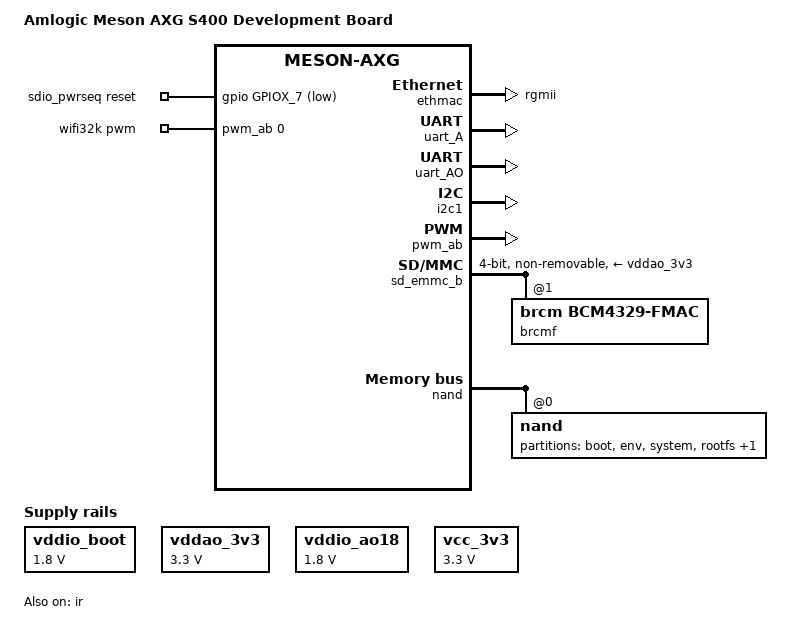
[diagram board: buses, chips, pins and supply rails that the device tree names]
// SPDX-License-Identifier: (GPL-2.0+ OR MIT)
/*
 * Copyright (c) 2017 Amlogic, Inc. All rights reserved.
 */

/dts-v1/;

#include "meson-axg.dtsi"

/ {
	compatible = "amlogic,s400", "amlogic,a113d", "amlogic,meson-axg";
	model = "Amlogic Meson AXG S400 Development Board";

	aliases {
		serial0 = &uart_AO;
		serial1 = &uart_A;
	};

	vddio_boot: regulator-vddio_boot {
		compatible = "regulator-fixed";
		regulator-name = "VDDIO_BOOT";
		regulator-min-microvolt = <1800000>;
		regulator-max-microvolt = <1800000>;
	};

	vddao_3v3: regulator-vddao_3v3 {
		compatible = "regulator-fixed";
		regulator-name = "VDDAO_3V3";
		regulator-min-microvolt = <3300000>;
		regulator-max-microvolt = <3300000>;
	};

	vddio_ao18: regulator-vddio_ao18 {
		compatible = "regulator-fixed";
		regulator-name = "VDDIO_AO18";
		regulator-min-microvolt = <1800000>;
		regulator-max-microvolt = <1800000>;
	};

	vcc_3v3: regulator-vcc_3v3 {
		compatible = "regulator-fixed";
		regulator-name = "VCC_3V3";
		regulator-min-microvolt = <3300000>;
		regulator-max-microvolt = <3300000>;
	};

	emmc_pwrseq: emmc-pwrseq {
		compatible = "mmc-pwrseq-emmc";
		reset-gpios = <&gpio BOOT_9 GPIO_ACTIVE_LOW>;
		status = "disabled";
	};

	sdio_pwrseq: sdio-pwrseq {
		compatible = "mmc-pwrseq-simple";
		reset-gpios = <&gpio GPIOX_7 GPIO_ACTIVE_LOW>;
		clocks = <&wifi32k>;
		clock-names = "ext_clock";
	};

	wifi32k: wifi32k {
		compatible = "pwm-clock";
		#clock-cells = <0>;
		clock-frequency = <32768>;
		pwms = <&pwm_ab 0 30518 0>; /* PWM_A at 32.768KHz */
	};
};

&ethmac {
	status = "okay";
	phy-mode = "rgmii";
	pinctrl-0 = <&eth_rgmii_y_pins>;
	pinctrl-names = "default";
};

&uart_A {
	status = "okay";
	pinctrl-0 = <&uart_a_pins>;
	pinctrl-names = "default";
};

&uart_AO {
	status = "okay";
	pinctrl-0 = <&uart_ao_a_pins>;
	pinctrl-names = "default";
};

&ir {
	status = "okay";
	pinctrl-0 = <&remote_input_ao_pins>;
	pinctrl-names = "default";
};

&i2c1 {
	status = "okay";
	pinctrl-0 = <&i2c1_z_pins>;
	pinctrl-names = "default";
};

&pwm_ab {
	status = "okay";
	pinctrl-0 = <&pwm_a_x20_pins>;
	pinctrl-names = "default";
};

/* emmc storage */
&sd_emmc_c {
	status = "disabled";
	pinctrl-0 = <&emmc_pins>;
	pinctrl-1 = <&emmc_clk_gate_pins>;
	pinctrl-names = "default", "clk-gate";

	bus-width = <8>;
	cap-sd-highspeed;
	cap-mmc-highspeed;
	max-frequency = <180000000>;
	non-removable;
	disable-wp;
	mmc-ddr-1_8v;
	mmc-hs200-1_8v;

	vmmc-supply = <&vcc_3v3>;
	vqmmc-supply = <&vddio_boot>;
};

/* wifi module */
&sd_emmc_b {
	status = "okay";
	#address-cells = <1>;
	#size-cells = <0>;

	pinctrl-0 = <&sdio_pins>;
	pinctrl-1 = <&sdio_clk_gate_pins>;
	pinctrl-names = "default", "clk-gate";

	bus-width = <4>;
	cap-sd-highspeed;
	max-frequency = <100000000>;
	non-removable;
	disable-wp;

	mmc-pwrseq = <&sdio_pwrseq>;

	vmmc-supply = <&vddao_3v3>;
	vqmmc-supply = <&vddio_boot>;

	brcmf: wifi@1 {
		reg = <1>;
		compatible = "brcm,bcm4329-fmac";
	};
};

&nand {
	status = "okay";
	#address-cells = <1>;
	#size-cells = <0>;

	pinctrl-names = "default";
	pinctrl-0 = <&nand_pins>;

	nand@0 {
		reg = <0>;
		#address-cells = <1>;
		#size-cells = <1>;

		nand-on-flash-bbt;
		nand-ecc-mode = "hw";
		nand-ecc-strength = <8>;
		nand-ecc-step-size = <1024>;

		nand-user-mode = <2>;
		nand-ran-mode = <1>;

		partition@0 {
			label = "boot";
			reg = <0x00000000 0x00200000>;
			read-only;
		};
		partition@200000 {
			label = "env";
			reg = <0x00200000 0x00400000>;
		};
		partition@600000 {
			label = "system";
			reg = <0x00600000 0x00a00000>;
		};
		partition@1000000 {
			label = "rootfs";
			reg = <0x01000000 0x03000000>;
		};
		partition@4000000 {
			label = "media";
			reg = <0x04000000 0x8000000>;
		};
	};
};
